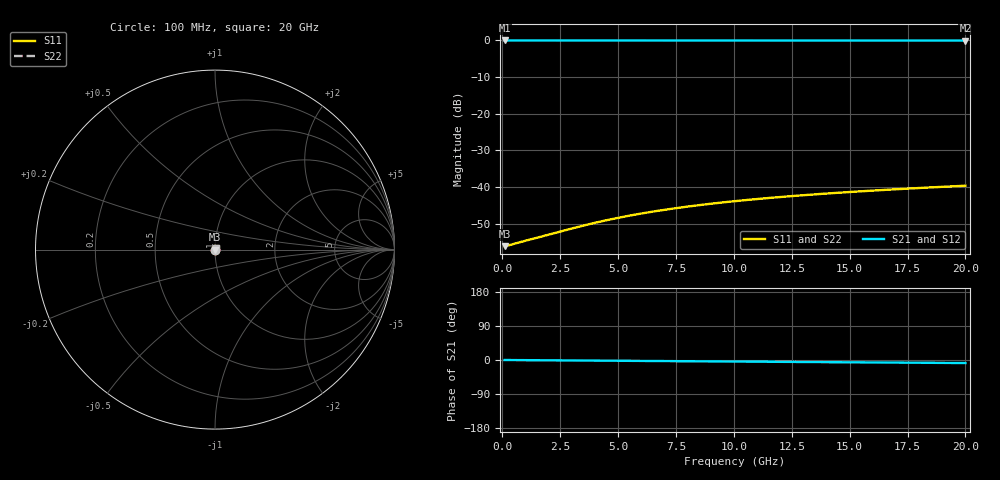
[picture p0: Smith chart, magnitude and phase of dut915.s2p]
! Touchstone file exported from HFSS 2026.1.0
!  File:  C:/ffzhzh/LocalFiles/Ansys_Project_Files/temp_train_TSV_915_1783186455_51560.aedt
!  Generated:  01:36:03 AM Jul  5, 2026
!  Design:  TSV
!  Project:  temp_train_TSV_915_1783186455_51560
! Variables:
!  h_bsmrdl = 2um
!  h_ox = 20um
!  h_rdl = 5um
!  h_sub = 88.62um
!  h_tmrdl = 5um
!  h_tsv = 88.62um
!  h_via = 3um
!  l_bsmrdl = 300um
!  l_sub = 405.14um
!  l_tmrdl = 200um
!  m_sub = 200um
!  pitch = 11.53um
!  r_tsv = 2.57um
!  s_tmrdl = 10um
!  w_bsmrdl = 18um
!  w_sub = 500um
!  w_tmrdl = 12um
!  x_tsv_center1 = 206um
!  x_tsv_center2 = 524um
!  x_tsv_center3 = 736um
!  x_tsv_center4 = 1054um
!  x_tsv_center5 = 1266um
!  x_tsv_center6 = 1584um
# GHz S MA R 50.000000
! Terminal data exported
! Port[1] = TSV1_1_T1
! Port[2] = TSV1_1_T2
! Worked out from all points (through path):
!   200 points, 100 MHz to 20 GHz, reference 50 ohm
!   highest |S21| = -0.01 dB at 100 MHz (marker M1); lowest = 0.0 dB at 20 GHz (marker M2)
!   group delay of S21, straight-line fit = 1.11 ps
!   lowest |S11| = -56.2 dB at 100 MHz (marker M3), VSWR 1.00, Z = 50.2 + j0.00912 ohm
!   |S11| at or under -10 dB: start of sweep to end of sweep
!   |S22| runs from -56.2 to -39.7 dB; largest |S21 - S12| = 4.6e-15
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0.1  0.001552 3.4  0.9985 -0.0  0.9985 -0.0  0.001552 3.4
! Gamma 0 0 0 0
! Port Impedance 50 0 50 0
0.2  0.001572 6.5  0.9984 -0.1  0.9984 -0.1  0.001572 6.5
0.3  0.001601 9.3  0.9984 -0.1  0.9984 -0.1  0.001601 9.3
0.7  0.001737 17.8  0.9983 -0.3  0.9983 -0.3  0.001737 17.8
1.6  0.002058 31.3  0.9983 -0.7  0.9983 -0.7  0.002058 31.3
2.9  0.002653 44.0  0.9981 -1.2  0.9981 -1.2  0.002653 44.0
3.5  0.002965 47.6  0.9981 -1.4  0.9981 -1.4  0.002965 47.6
4.3  0.003397 51.1  0.9979 -1.8  0.9979 -1.8  0.003397 51.1
5.1  0.003837 53.4  0.9978 -2.1  0.9978 -2.1  0.003837 53.4
5.9  0.004275 54.9  0.9977 -2.4  0.9977 -2.4  0.004275 54.9
6.8  0.004759 56.0  0.9975 -2.8  0.9975 -2.8  0.004759 56.0
7.6  0.00518 56.6  0.9974 -3.1  0.9974 -3.1  0.00518 56.6
8.4  0.005588 56.9  0.9972 -3.4  0.9972 -3.4  0.005588 56.9
9.2  0.005984 57.1  0.9971 -3.7  0.9971 -3.7  0.005984 57.1
10.1  0.006415 57.2  0.9969 -4.1  0.9969 -4.1  0.006415 57.2
10.9  0.006785 57.1  0.9967 -4.4  0.9967 -4.4  0.006785 57.1
11.7  0.007143 57.1  0.9966 -4.7  0.9966 -4.7  0.007143 57.1
13.4  0.007871 56.8  0.9963 -5.4  0.9963 -5.4  0.007871 56.8
15  0.008519 56.5  0.996 -6.1  0.996 -6.1  0.008519 56.5
16.7  0.009176 56.1  0.9958 -6.7  0.9958 -6.7  0.009176 56.1
18.3  0.00977 55.8  0.9955 -7.4  0.9955 -7.4  0.00977 55.8
20  0.01038 55.5  0.9953 -8.0  0.9953 -8.0  0.01038 55.5
